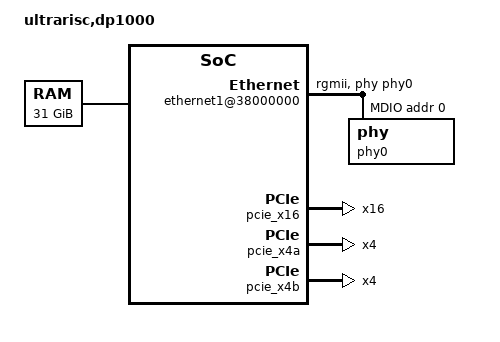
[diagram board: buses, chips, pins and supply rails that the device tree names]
/dts-v1/;

/ {
	#address-cells = <0x02>;
	#size-cells = <0x02>;
	compatible = "ultrarisc,dp1000";
	model = "ultrarisc,dp1000";

    aliases {
		virtio-console = "/soc/virtio_mmio@10007000";
	};

	chosen {
		bootargs = "earlycon console=hvc0 root=UUID=8910ab6a-efb3-4d32-9b75-b4478dc494e0 ro splash";
		stdout-path = "virtio-console";
	};

	cpus {
		#address-cells = <0x01>;
		#size-cells = <0x00>;
		timebase-frequency = <10000000>;

		cpu2: cpu@2 {
			device_type = "cpu";
			reg = <0x2>;
			status = "okay";
			compatible = "riscv";
			riscv,isa = "rv64imafdcb";
			mmu-type = "riscv,sv48";
			clock-frequency = <2000000000>;
			cpu2_intc:interrupt-controller {
				#address-cells = <0x01>;
				interrupt-controller;
				compatible = "riscv,cpu-intc";
				#interrupt-cells = <0x01>;
			};
		};
		cpu3: cpu@3 {
			device_type = "cpu";
			reg = <0x3>;
			status = "okay";
			compatible = "riscv";
			riscv,isa = "rv64imafdcb";
			mmu-type = "riscv,sv48";
			clock-frequency = <2000000000>;
			cpu3_intc:interrupt-controller {
				#address-cells = <0x01>;
				interrupt-controller;
				compatible = "riscv,cpu-intc";
				#interrupt-cells = <0x01>;
			};
		};
	    cpu4: cpu@4 {
			device_type = "cpu";
			reg = <0x10>;
			status = "okay";
			compatible = "riscv";
			riscv,isa = "rv64imafdcb";
			mmu-type = "riscv,sv48";
			clock-frequency = <2000000000>;
			cpu4_intc:interrupt-controller {
				#address-cells = <0x01>;
				interrupt-controller;
				compatible = "riscv,cpu-intc";
				#interrupt-cells = <0x01>;
			};
		};
		cpu5: cpu@5 {
			device_type = "cpu";
			reg = <0x11>;
			status = "okay";
			compatible = "riscv";
			riscv,isa = "rv64imafdcb";
			mmu-type = "riscv,sv48";
			clock-frequency = <2000000000>;
			cpu5_intc:interrupt-controller {
				#address-cells = <0x01>;
				interrupt-controller;
				compatible = "riscv,cpu-intc";
				#interrupt-cells = <0x01>;
			};
		};
		cpu6: cpu@6 {
			device_type = "cpu";
			reg = <0x12>;
			status = "okay";
			compatible = "riscv";
			riscv,isa = "rv64imafdcb";
			mmu-type = "riscv,sv48";
			clock-frequency = <2000000000>;
			cpu6_intc:interrupt-controller {
				#address-cells = <0x01>;
				interrupt-controller;
				compatible = "riscv,cpu-intc";
				#interrupt-cells = <0x01>;
			};
		};
		cpu7: cpu@7 {
			device_type = "cpu";
			reg = <0x13>;
			status = "okay";
			compatible = "riscv";
			riscv,isa = "rv64imafdcb";
			mmu-type = "riscv,sv48";
			clock-frequency = <2000000000>;
			cpu7_intc:interrupt-controller {
				#address-cells = <0x01>;
				interrupt-controller;
				compatible = "riscv,cpu-intc";
				#interrupt-cells = <0x01>;
			};
		};
	};

	memory@C0000000 {
		device_type = "memory";
		reg = <0x00 0xC0000000 0x07 0xC0000000>;
	};

	soc {
		#address-cells = <0x02>;
		#size-cells = <0x02>;
		compatible = "simple-bus";
		ranges;

		clocks {
			compatible = "simple-bus";
			u-boot,dm-pre-reloc;
			device_clk: device_clk {
				compatible = "fixed-clock";
				clock-frequency = <62500000>;
				#clock-cells = <0>;
			};

			csr_clk: csr_clk {
				compatible = "fixed-clock";
				clock-frequency = <250000000>;
				#clock-cells = <0>;
			};
		};

		plic: plic@9000000 {
			#interrupt-cells = <1>;
			#address-cells = <0>;
			phandle = <0x01>;
			compatible = "sifive,plic-1.0.0";
			interrupt-controller;
			interrupts-extended = <&cpu2_intc 0xffffffff>, <&cpu2_intc 0x9>, <&cpu2_intc 0xffffffff>,
            <&cpu3_intc 0xffffffff>, <&cpu3_intc 0x9>, <&cpu3_intc 0xffffffff>,
            <&cpu4_intc 0xffffffff>, <&cpu4_intc 0x9>, <&cpu4_intc 0xffffffff>,
            <&cpu5_intc 0xffffffff>, <&cpu5_intc 0x9>, <&cpu5_intc 0xffffffff>,
            <&cpu6_intc 0xffffffff>, <&cpu6_intc 0x9>, <&cpu6_intc 0xffffffff>,
            <&cpu7_intc 0xffffffff>, <&cpu7_intc 0x9>, <&cpu7_intc 0xffffffff>;
			reg = <0x00 0x9000000 0x00 0x4000000>;
			riscv,max-priority = <0x07>;
			riscv,ndev = <160>;
		};

		//virtio_mmio@10006000 {
		//	interrupts = <0x06>;
		//	interrupt-parent = <&plic>;
		//	reg = <0x00 0x10006000 0x00 0x1000>;
		//	compatible = "virtio,mmio";
		//};

		virtio_mmio@10007000 {
			interrupts = <0x07>;
			interrupt-parent = <&plic>;
			reg = <0x00 0x10007000 0x00 0x1000>;
			compatible = "virtio,mmio";
		};

    	ethernet1@38000000 {
			clocks = <&csr_clk>;
			clock-names = "stmmaceth";
			compatible = "ultrarisc,dp1000-gmac", "snps,dwmac-5.10a";
			interrupt-parent = <0x01>;
			interrupts = <84>;
			interrupt-names = "macirq";
			reg = <0x00 0x38000000 0x00 0x1000000>;
			local-mac-address = [ff ff ff ff ff ff];
			phy-mode = "rgmii";
			max-speed = <1000>;
			snps,txpbl = <8>;
			snps,rxpbl = <8>;
			phy-handle = <&phy0>;
			mdio {
				#address-cells = <0x01>;
				#size-cells = <0x00>;
				compatible = "snps,dwmac-mdio";
				phy0: phy@0{
					phandle = <0x04>;
					reg = <0x00>;
					status = "okay";
				};
			};
		};

		pcie_x16: pcie@21000000 {
			compatible = "ultrarisc,dw-pcie";
			#address-cells = <3>;
			#size-cells = <2>;
			#interrupt-cells = <1>;
			reg = <0x0 0x21000000 0x0 0x01000000>, /* IP registers */
			      <0x0 0x4fff0000 0x0 0x00010000>; /* Configuration space */
			reg-names = "dbi", "config";
			device_type = "pci";
			dma-coherent;
			bus-range = <0x0 0xff>;
			num-lanes = <16>;
			ranges = <0x81000000  0x0 0x4fbf0000  0x0 0x4fbf0000  0x0 0x00400000>,
				 <0x82000000  0x0 0x40000000  0x0 0x40000000  0x0 0x0fbf0000>,
				 <0xc3000000 0x40 0x00000000 0x40 0x00000000  0xd 0x00000000>;
			max-link-speed = <4>;
			interrupt-parent = <&plic>;
			interrupts = <43>, <44>, <45>, <46>, <47>, <48>;
			interrupt-names = "msi", "inta", "intb", "intc", "intd", "aer";
			interrupt-map-mask = <0x0 0x0 0x0 0x7>;
			interrupt-map = <0x0 0x0 0x0 0x1 &plic 44>,
					<0x0 0x0 0x0 0x2 &plic 45>,
					<0x0 0x0 0x0 0x3 &plic 46>,
					<0x0 0x0 0x0 0x4 &plic 47>;
		};

		pcie_x4a: pcie@23000000 {
			compatible = "ultrarisc,dw-pcie";
			#address-cells = <3>;
			#size-cells = <2>;
			#interrupt-cells = <1>;
			reg = <0x0 0x23000000 0x0 0x01000000>, /* IP registers */
			      <0x0 0x6fff0000 0x0 0x00010000>; /* Configuration space */
			reg-names = "dbi", "config";
			device_type = "pci";
			dma-coherent;
			bus-range = <0x0 0xff>;
			num-lanes = <4>;
			ranges = <0x81000000  0x0 0x6fbf0000  0x0 0x6fbf0000  0x0 0x00400000>,
				 <0x82000000  0x0 0x60000000  0x0 0x60000000  0x0 0x0fbf0000>,
				 <0xc3000000 0x80 0x00000000 0x80 0x00000000  0xd 0x00000000>;
			max-link-speed = <4>;
			interrupt-parent = <&plic>;
			interrupts = <63>, <64>, <65>, <66>, <67>, <68>;
			interrupt-names = "msi", "inta", "intb", "intc", "intd", "aer";
			interrupt-map-mask = <0x0 0x0 0x0 0x7>;
			interrupt-map = <0x0 0x0 0x0 0x1 &plic 64>,
					<0x0 0x0 0x0 0x2 &plic 65>,
					<0x0 0x0 0x0 0x3 &plic 66>,
					<0x0 0x0 0x0 0x4 &plic 67>;
		};

		pcie_x4b: pcie@24000000 {
			compatible = "ultrarisc,dw-pcie";
			#address-cells = <3>;
			#size-cells = <2>;
			#interrupt-cells = <1>;
			reg = <0x0 0x24000000 0x0 0x01000000>, /* IP registers */
			      <0x0 0x7fff0000 0x0 0x00010000>; /* Configuration space */
			reg-names = "dbi", "config";
			device_type = "pci";
			dma-coherent;
			bus-range = <0x0 0xff>;
			num-lanes = <4>;
			ranges = <0x81000000  0x0 0x7fbf0000  0x0 0x7fbf0000 0x0 0x00400000>,
				 <0x82000000  0x0 0x70000000  0x0 0x70000000 0x0 0x0fbf0000>,
				 <0xc3000000 0xc0 0x00000000 0xc0 0x00000000 0xd 0x00000000>;
			max-link-speed = <4>;
			interrupt-parent = <&plic>;
			interrupts = <73>, <74>, <75>, <76>, <77>, <78>;
			interrupt-names = "msi", "inta", "intb", "intc", "intd", "aer";
			interrupt-map-mask = <0x0 0x0 0x0 0x7>;
			interrupt-map = <0x0 0x0 0x0 0x1 &plic 74>,
					<0x0 0x0 0x0 0x2 &plic 75>,
					<0x0 0x0 0x0 0x3 &plic 76>,
					<0x0 0x0 0x0 0x4 &plic 77>;
		};
	};
};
